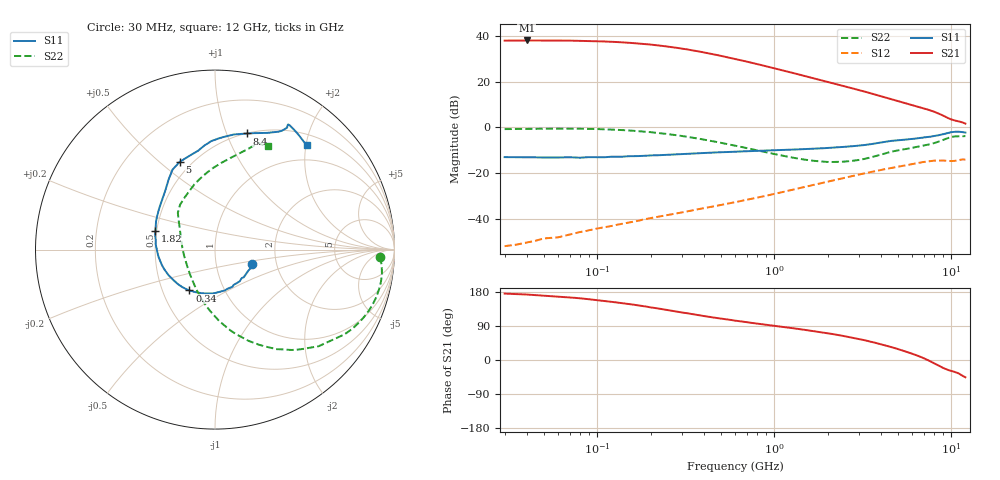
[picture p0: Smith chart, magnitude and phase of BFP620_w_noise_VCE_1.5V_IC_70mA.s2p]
! Infineon Technologies  Discrete & RF Semiconductors
! BFP620
! VCE =  1.5 V,  IC =  70 mA
! Common Emitter S-Parameters:  Nov 2015
# GHz  S  MA  R  50
!  f  S11  S21  S12  S22
! GHz  MAG  ANG  MAG  ANG  MAG  ANG  MAG  ANG
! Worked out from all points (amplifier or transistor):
!   239 points, 30 MHz to 12 GHz, reference 50 ohm
!   highest |S21| = 38.1 dB at 40 MHz (marker M1)
!   |S21| within 3 dB of that: start of sweep to 268.3 MHz
!   unconditionally stable (mu >= 1): 1.673 GHz to end of sweep
!   at 300 MHz: K = 0.56, MSG = 35.9 dB, |S12| = -37.3 dB
!   at 1.88 GHz: K = 1.01, MAG = 21.8 dB, |S12| = -24.2 dB
!   at 12 GHz: K = 1.08, MAG = 6.1 dB, |S12| = -14.1 dB
!   lowest NFmin = 1.85 dB at 450 MHz
!   S11 on the Smith chart (normalised r, x): 30 MHz: 1.50, -0.26; 340 MHz: 0.68, -0.34; 1.82 GHz: 0.49, +0.12; 5 GHz: 0.43, +0.59; 8.4 GHz: 0.50, +1.19; 12 GHz: 0.70, +2.01
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0.03  0.2239 -21.7  80.23 175.2  0.0025 102.5  0.9212 -2.6
0.04  0.2231 -27.7  80.81 172.8  0.003 98.2  0.933 -5.4
0.07  0.2223 -44.0  80.15 165.2  0.0045 85.8  0.9402 -13.8
0.085  0.2204 -49.4  78.87 161.6  0.0053 84.1  0.9333 -17.8
0.115  0.2253 -63.5  76.21 154.6  0.0067 80.9  0.9062 -25.3
0.145  0.2316 -74.6  72.68 148.7  0.008 77.1  0.8689 -32.1
0.2  0.2439 -91.6  65.69 138.9  0.0103 74.0  0.7896 -43.0
0.24  0.2501 -102.3  60.55 133.1  0.0117 72.3  0.731 -49.5
0.3  0.2616 -115.3  53.66 125.5  0.0137 70.8  0.6518 -58.3
0.34  0.2684 -122.1  49.59 121.5  0.0151 70.0  0.6045 -63.0
0.45  0.2823 -137.0  40.41 112.3  0.0185 68.9  0.4989 -74.5
0.6  0.2953 -150.9  31.81 103.9  0.023 68.2  0.3999 -86.5
0.7  0.302 -157.9  27.68 99.5  0.0259 68.0  0.3517 -93.3
0.9  0.3126 -168.6  21.88 92.9  0.0319 67.2  0.2852 -105.2
1.2  0.3239 179.9  16.59 85.4  0.0411 65.3  0.2265 -120.7
1.64  0.341 167.4  12.22 76.7  0.0543 61.6  0.1871 -141.7
1.82  0.3477 162.8  11.02 73.5  0.0598 59.9  0.1794 -150.4
2.8  0.3901 142.1  7.098 58.1  0.0876 49.5  0.1871 171.2
4.5  0.505 117.9  4.251 34.9  0.1281 30.9  0.2912 135.3
5  0.5271 111.9  3.781 28.6  0.1384 25.7  0.3166 128.0
8.4  0.6715 74.5  2.047 -13.9  0.1887 -11.9  0.4841 85.9
12  0.773 48.7  1.217 -45.6  0.1978 -40.0  0.6471 62.7
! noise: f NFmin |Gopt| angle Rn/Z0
0.45  1.85  0.39  -167  0.1
0.9  1.87  0.42  -156  0.11
1.9  1.88  0.44  -140  0.15
2.4  1.92  0.45  -137  0.16
3.5  1.99  0.48  -107  0.3
5.5  2.26  0.48  -85  0.45
10  2.54  0.69  -41  1.65
